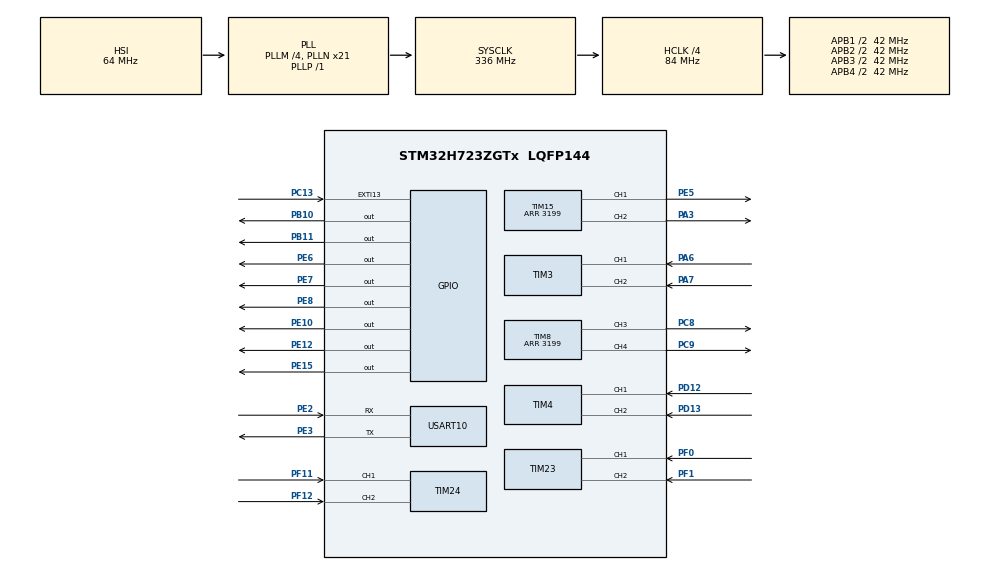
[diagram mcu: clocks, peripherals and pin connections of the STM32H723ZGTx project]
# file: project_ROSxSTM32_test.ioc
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Dma.Request0=USART10_RX
Dma.Request1=USART10_TX
Dma.USART10_RX.0.Direction=DMA_PERIPH_TO_MEMORY
Dma.USART10_RX.0.EventEnable=DISABLE
Dma.USART10_RX.0.FIFOMode=DMA_FIFOMODE_DISABLE
Dma.USART10_RX.0.Instance=DMA1_Stream0
Dma.USART10_RX.0.MemDataAlignment=DMA_MDATAALIGN_BYTE
Dma.USART10_RX.0.MemInc=DMA_MINC_ENABLE
Dma.USART10_RX.0.Mode=DMA_CIRCULAR
Dma.USART10_RX.0.PeriphDataAlignment=DMA_PDATAALIGN_BYTE
Dma.USART10_RX.0.PeriphInc=DMA_PINC_DISABLE
Dma.USART10_RX.0.Polarity=HAL_DMAMUX_REQ_GEN_RISING
Dma.USART10_RX.0.Priority=DMA_PRIORITY_HIGH
Dma.USART10_RX.0.RequestNumber=1
Dma.USART10_RX.0.SignalID=NONE
Dma.USART10_RX.0.SyncEnable=DISABLE
Dma.USART10_RX.0.SyncPolarity=HAL_DMAMUX_SYNC_NO_EVENT
Dma.USART10_RX.0.SyncRequestNumber=1
Dma.USART10_RX.0.SyncSignalID=NONE
Dma.USART10_TX.1.Direction=DMA_MEMORY_TO_PERIPH
Dma.USART10_TX.1.EventEnable=DISABLE
Dma.USART10_TX.1.FIFOMode=DMA_FIFOMODE_DISABLE
Dma.USART10_TX.1.Instance=DMA1_Stream1
Dma.USART10_TX.1.MemDataAlignment=DMA_MDATAALIGN_BYTE
Dma.USART10_TX.1.MemInc=DMA_MINC_ENABLE
Dma.USART10_TX.1.Mode=DMA_NORMAL
Dma.USART10_TX.1.PeriphDataAlignment=DMA_PDATAALIGN_BYTE
Dma.USART10_TX.1.PeriphInc=DMA_PINC_DISABLE
Dma.USART10_TX.1.Polarity=HAL_DMAMUX_REQ_GEN_RISING
Dma.USART10_TX.1.Priority=DMA_PRIORITY_HIGH
Dma.USART10_TX.1.RequestNumber=1
Dma.USART10_TX.1.SignalID=NONE
Dma.USART10_TX.1.SyncEnable=DISABLE
Dma.USART10_TX.1.SyncPolarity=HAL_DMAMUX_SYNC_NO_EVENT
Dma.USART10_TX.1.SyncRequestNumber=1
Dma.USART10_TX.1.SyncSignalID=NONE
Mcu.Family=STM32H7
Mcu.Name=STM32H723ZGTx
Mcu.Package=LQFP144
NVIC.DMA1_Stream0_IRQn=true\:0\:0\:false\:false\:true\:false\:true\:true
NVIC.DMA1_Stream1_IRQn=true\:0\:0\:false\:false\:true\:false\:true\:true
NVIC.EXTI15_10_IRQn=true\:0\:0\:false\:false\:true\:true\:true\:true
NVIC.PriorityGroup=NVIC_PRIORITYGROUP_4
NVIC.RCC_IRQn=true\:0\:0\:false\:false\:true\:true\:false\:true
NVIC.TIM2_IRQn=true\:0\:0\:false\:false\:true\:true\:true\:true
NVIC.TIM5_IRQn=true\:0\:0\:false\:false\:true\:true\:true\:true
NVIC.USART10_IRQn=true\:0\:0\:false\:false\:true\:true\:true\:true
PA3.Signal=S_TIM15_CH2
PA6.Signal=S_TIM3_CH1
PA7.Signal=S_TIM3_CH2
PB10.Signal=GPIO_Output
PB11.Signal=GPIO_Output
PC13.Signal=GPXTI13
PC8.Signal=S_TIM8_CH3
PC9.Signal=S_TIM8_CH4
PD12.Signal=S_TIM4_CH1
PD13.Signal=S_TIM4_CH2
PE10.Signal=GPIO_Output
PE12.Signal=GPIO_Output
PE15.Signal=GPIO_Output
PE2.Mode=Asynchronous
PE2.Signal=USART10_RX
PE3.Mode=Asynchronous
PE3.Signal=USART10_TX
PE5.Signal=S_TIM15_CH1
PE6.Signal=GPIO_Output
PE7.Signal=GPIO_Output
PE8.Signal=GPIO_Output
PF0.Mode=Encoder_Interface
PF0.Signal=TIM23_CH1
PF1.Signal=S_TIM23_CH2
PF11.Mode=Encoder_Interface
PF11.Signal=TIM24_CH1
PF12.Signal=S_TIM24_CH2
PH0-OSC_IN.Mode=HSE-External-Clock-Source
PH0-OSC_IN.Signal=RCC_OSC_IN
ProjectManager.HeapSize=0x200
ProjectManager.StackSize=0x400
ProjectManager.TargetToolchain=STM32CubeIDE
RCC.ADCFreq_Value=129000000
RCC.APB1Freq_Value=42000000
RCC.APB2Freq_Value=42000000
RCC.APB3Freq_Value=42000000
RCC.APB4Freq_Value=42000000
RCC.CortexFreq_Value=168000000
RCC.D1CPRE=RCC_SYSCLK_DIV2
RCC.D1PPRE=RCC_APB3_DIV2
RCC.D2PPRE1=RCC_APB1_DIV2
RCC.D2PPRE2=RCC_APB2_DIV2
RCC.D3PPRE=RCC_APB4_DIV2
RCC.DIVM1=4
RCC.DIVN1=21
RCC.DIVP1=1
RCC.HCLKFreq_Value=84000000
RCC.HPRE=RCC_HCLK_DIV2
RCC.HSE_VALUE=8000000
RCC.PLL2FRACN=0
RCC.PLL3FRACN=0
RCC.PLLFRACN=0
RCC.SYSCLKFreq_VALUE=336000000
RCC.SYSCLKSource=RCC_SYSCLKSOURCE_PLLCLK
RCC.USBFreq_Value=168000000
SH.S_TIM15_CH1.0=TIM15_CH1,PWM Generation1 CH1
SH.S_TIM15_CH2.0=TIM15_CH2,PWM Generation2 CH2
SH.S_TIM23_CH2.0=TIM23_CH2,Encoder_Interface
SH.S_TIM24_CH2.0=TIM24_CH2,Encoder_Interface
SH.S_TIM3_CH1.0=TIM3_CH1,Encoder_Interface
SH.S_TIM3_CH2.0=TIM3_CH2,Encoder_Interface
SH.S_TIM4_CH1.0=TIM4_CH1,Encoder_Interface
SH.S_TIM4_CH2.0=TIM4_CH2,Encoder_Interface
SH.S_TIM8_CH3.0=TIM8_CH3,PWM Generation3 CH3
SH.S_TIM8_CH4.0=TIM8_CH4,PWM Generation4 CH4
TIM15.Channel-PWM\ Generation1\ CH1=TIM_CHANNEL_1
TIM15.Channel-PWM\ Generation2\ CH2=TIM_CHANNEL_2
TIM15.Period=3199
TIM2.Period=19999
TIM2.Prescaler=63
TIM23.EncoderMode=TIM_ENCODERMODE_TI12
TIM24.EncoderMode=TIM_ENCODERMODE_TI12
TIM3.EncoderMode=TIM_ENCODERMODE_TI12
TIM4.EncoderMode=TIM_ENCODERMODE_TI12
TIM5.Period=999
TIM5.Prescaler=63
TIM8.Channel-PWM\ Generation3\ CH3=TIM_CHANNEL_3
TIM8.Channel-PWM\ Generation4\ CH4=TIM_CHANNEL_4
TIM8.Period=3199
USART10.VirtualMode-Asynchronous=VM_ASYNC
VP_TIM2_VS_ClockSourceINT.Mode=Internal
VP_TIM5_VS_ClockSourceINT.Mode=Internal
board=custom

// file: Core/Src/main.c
/* USER CODE BEGIN Header */
/**
  ******************************************************************************
  * @file           : main.c
  * @brief          : Main program body
  ******************************************************************************
  * @attention
  *
  * Copyright (c) 2023 STMicroelectronics.
  * All rights reserved.
  *
  * This software is licensed under terms that can be found in the LICENSE file
  * in the root directory of this software component.
  * If no LICENSE file comes with this software, it is provided AS-IS.
  *
  ******************************************************************************
  */
/* USER CODE END Header */
#include "main.h"

/* USER CODE BEGIN Includes */
#include "mainpp.h"
#include "PID.h"
#include "timing.h"
/* USER CODE END Includes */

/* USER CODE BEGIN PM */
void SV_Limit(double SV[], double max){
	double temp_SV;
	for (int i = 0; i < 4; i++) {
		if (SV[i] > max){
			temp_SV = max / SV[i];
			for (int j = 0; j < 4; j++) SV[j] *= temp_SV;
		}else if (SV[i] < (max * -1)){
			temp_SV = (max * -1) / SV[i];
			for (int j = 0; j < 4; j++) SV[j] *= temp_SV;
		}
	}
}
/* USER CODE END PM */

TIM_HandleTypeDef htim2;
TIM_HandleTypeDef htim3;
TIM_HandleTypeDef htim4;
TIM_HandleTypeDef htim5;
TIM_HandleTypeDef htim8;
TIM_HandleTypeDef htim15;
TIM_HandleTypeDef htim23;
TIM_HandleTypeDef htim24;

UART_HandleTypeDef huart10;
DMA_HandleTypeDef hdma_usart10_rx;
DMA_HandleTypeDef hdma_usart10_tx;

void SystemClock_Config(void);
static void MX_GPIO_Init(void);
static void MX_DMA_Init(void);
static void MX_USART10_UART_Init(void);
static void MX_TIM3_Init(void);
static void MX_TIM4_Init(void);
static void MX_TIM5_Init(void);
static void MX_TIM8_Init(void);
static void MX_TIM15_Init(void);
static void MX_TIM23_Init(void);
static void MX_TIM24_Init(void);
static void MX_TIM2_Init(void);

int main(void)
{

  /* MCU Configuration--------------------------------------------------------*/

  /* Reset of all peripherals, Initializes the Flash interface and the Systick. */
  HAL_Init();

  /* Configure the system clock */
  SystemClock_Config();

  /* Initialize all configured peripherals */
  MX_GPIO_Init();
  MX_DMA_Init();
  MX_USART10_UART_Init();
  MX_TIM3_Init();
  MX_TIM4_Init();
  MX_TIM5_Init();
  MX_TIM8_Init();
  MX_TIM15_Init();
  MX_TIM23_Init();
  MX_TIM24_Init();
  MX_TIM2_Init();
  /* USER CODE BEGIN 2 */
  	HAL_TIM_Base_Start_IT(&htim5);
  	HAL_TIM_Base_Start_IT(&htim2);
    HAL_TIM_PWM_Start(&htim8, TIM_CHANNEL_3);
    HAL_TIM_PWM_Start(&htim8, TIM_CHANNEL_4);
    HAL_TIM_PWM_Start(&htim15, TIM_CHANNEL_1);
    HAL_TIM_PWM_Start(&htim15, TIM_CHANNEL_2);
    HAL_TIM_Encoder_Start(&htim24, TIM_CHANNEL_1);
    HAL_TIM_Encoder_Start(&htim24, TIM_CHANNEL_2);
    HAL_TIM_Encoder_Start(&htim3, TIM_CHANNEL_1);
    HAL_TIM_Encoder_Start(&htim3, TIM_CHANNEL_2);
    HAL_TIM_Encoder_Start(&htim4, TIM_CHANNEL_1);
    HAL_TIM_Encoder_Start(&htim4, TIM_CHANNEL_2);
    HAL_TIM_Encoder_Start(&htim23, TIM_CHANNEL_1);
    HAL_TIM_Encoder_Start(&htim23, TIM_CHANNEL_2);

    setup();
  /* USER CODE END 2 */

  /* Infinite loop */
  while (1)
  {

    /* USER CODE BEGIN 3 */
		loop();
  }
  /* USER CODE END 3 */
}

void SystemClock_Config(void)
{
  RCC_OscInitTypeDef RCC_OscInitStruct = {0};
  RCC_ClkInitTypeDef RCC_ClkInitStruct = {0};

  /** Supply configuration update enable
  */
  HAL_PWREx_ConfigSupply(PWR_LDO_SUPPLY);

  /** Configure the main internal regulator output voltage
  */
  __HAL_PWR_VOLTAGESCALING_CONFIG(PWR_REGULATOR_VOLTAGE_SCALE3);

  while(!__HAL_PWR_GET_FLAG(PWR_FLAG_VOSRDY)) {}

  /** Initializes the RCC Oscillators according to the specified parameters
  * in the RCC_OscInitTypeDef structure.
  */
  RCC_OscInitStruct.OscillatorType = RCC_OSCILLATORTYPE_HSI;
  RCC_OscInitStruct.HSIState = RCC_HSI_DIV1;
  RCC_OscInitStruct.HSICalibrationValue = RCC_HSICALIBRATION_DEFAULT;
  RCC_OscInitStruct.PLL.PLLState = RCC_PLL_ON;
  RCC_OscInitStruct.PLL.PLLSource = RCC_PLLSOURCE_HSI;
  RCC_OscInitStruct.PLL.PLLM = 4;
  RCC_OscInitStruct.PLL.PLLN = 21;
  RCC_OscInitStruct.PLL.PLLP = 1;
  RCC_OscInitStruct.PLL.PLLQ = 2;
  RCC_OscInitStruct.PLL.PLLR = 2;
  RCC_OscInitStruct.PLL.PLLRGE = RCC_PLL1VCIRANGE_3;
  RCC_OscInitStruct.PLL.PLLVCOSEL = RCC_PLL1VCOWIDE;
  RCC_OscInitStruct.PLL.PLLFRACN = 0;
  if (HAL_RCC_OscConfig(&RCC_OscInitStruct) != HAL_OK)
  {
    Error_Handler();
  }

  /** Initializes the CPU, AHB and APB buses clocks
  */
  RCC_ClkInitStruct.ClockType = RCC_CLOCKTYPE_HCLK|RCC_CLOCKTYPE_SYSCLK
                              |RCC_CLOCKTYPE_PCLK1|RCC_CLOCKTYPE_PCLK2
                              |RCC_CLOCKTYPE_D3PCLK1|RCC_CLOCKTYPE_D1PCLK1;
  RCC_ClkInitStruct.SYSCLKSource = RCC_SYSCLKSOURCE_PLLCLK;
  RCC_ClkInitStruct.SYSCLKDivider = RCC_SYSCLK_DIV2;
  RCC_ClkInitStruct.AHBCLKDivider = RCC_HCLK_DIV2;
  RCC_ClkInitStruct.APB3CLKDivider = RCC_APB3_DIV2;
  RCC_ClkInitStruct.APB1CLKDivider = RCC_APB1_DIV2;
  RCC_ClkInitStruct.APB2CLKDivider = RCC_APB2_DIV2;
  RCC_ClkInitStruct.APB4CLKDivider = RCC_APB4_DIV2;

  if (HAL_RCC_ClockConfig(&RCC_ClkInitStruct, FLASH_LATENCY_2) != HAL_OK)
  {
    Error_Handler();
  }
}

static void MX_TIM2_Init(void)
{

  TIM_ClockConfigTypeDef sClockSourceConfig = {0};
  TIM_MasterConfigTypeDef sMasterConfig = {0};

  htim2.Instance = TIM2;
  htim2.Init.Prescaler = 63;
  htim2.Init.CounterMode = TIM_COUNTERMODE_UP;
  htim2.Init.Period = 19999;
  htim2.Init.ClockDivision = TIM_CLOCKDIVISION_DIV1;
  htim2.Init.AutoReloadPreload = TIM_AUTORELOAD_PRELOAD_DISABLE;
  if (HAL_TIM_Base_Init(&htim2) != HAL_OK)
  {
    Error_Handler();
  }
  sClockSourceConfig.ClockSource = TIM_CLOCKSOURCE_INTERNAL;
  if (HAL_TIM_ConfigClockSource(&htim2, &sClockSourceConfig) != HAL_OK)
  {
    Error_Handler();
  }
  sMasterConfig.MasterOutputTrigger = TIM_TRGO_RESET;
  sMasterConfig.MasterSlaveMode = TIM_MASTERSLAVEMODE_DISABLE;
  if (HAL_TIMEx_MasterConfigSynchronization(&htim2, &sMasterConfig) != HAL_OK)
  {
    Error_Handler();
  }

}

static void MX_TIM3_Init(void)
{

  TIM_Encoder_InitTypeDef sConfig = {0};
  TIM_MasterConfigTypeDef sMasterConfig = {0};

  htim3.Instance = TIM3;
  htim3.Init.Prescaler = 0;
  htim3.Init.CounterMode = TIM_COUNTERMODE_UP;
  htim3.Init.Period = 65535;
  htim3.Init.ClockDivision = TIM_CLOCKDIVISION_DIV1;
  htim3.Init.AutoReloadPreload = TIM_AUTORELOAD_PRELOAD_DISABLE;
  sConfig.EncoderMode = TIM_ENCODERMODE_TI12;
  sConfig.IC1Polarity = TIM_ICPOLARITY_RISING;
  sConfig.IC1Selection = TIM_ICSELECTION_DIRECTTI;
  sConfig.IC1Prescaler = TIM_ICPSC_DIV1;
  sConfig.IC1Filter = 0;
  sConfig.IC2Polarity = TIM_ICPOLARITY_RISING;
  sConfig.IC2Selection = TIM_ICSELECTION_DIRECTTI;
  sConfig.IC2Prescaler = TIM_ICPSC_DIV1;
  sConfig.IC2Filter = 0;
  if (HAL_TIM_Encoder_Init(&htim3, &sConfig) != HAL_OK)
  {
    Error_Handler();
  }
  sMasterConfig.MasterOutputTrigger = TIM_TRGO_RESET;
  sMasterConfig.MasterSlaveMode = TIM_MASTERSLAVEMODE_DISABLE;
  if (HAL_TIMEx_MasterConfigSynchronization(&htim3, &sMasterConfig) != HAL_OK)
  {
    Error_Handler();
  }

}

static void MX_TIM4_Init(void)
{

  TIM_Encoder_InitTypeDef sConfig = {0};
  TIM_MasterConfigTypeDef sMasterConfig = {0};

  htim4.Instance = TIM4;
  htim4.Init.Prescaler = 0;
  htim4.Init.CounterMode = TIM_COUNTERMODE_UP;
  htim4.Init.Period = 65535;
  htim4.Init.ClockDivision = TIM_CLOCKDIVISION_DIV1;
  htim4.Init.AutoReloadPreload = TIM_AUTORELOAD_PRELOAD_DISABLE;
  sConfig.EncoderMode = TIM_ENCODERMODE_TI12;
  sConfig.IC1Polarity = TIM_ICPOLARITY_RISING;
  sConfig.IC1Selection = TIM_ICSELECTION_DIRECTTI;
  sConfig.IC1Prescaler = TIM_ICPSC_DIV1;
  sConfig.IC1Filter = 0;
  sConfig.IC2Polarity = TIM_ICPOLARITY_RISING;
  sConfig.IC2Selection = TIM_ICSELECTION_DIRECTTI;
  sConfig.IC2Prescaler = TIM_ICPSC_DIV1;
  sConfig.IC2Filter = 0;
  if (HAL_TIM_Encoder_Init(&htim4, &sConfig) != HAL_OK)
  {
    Error_Handler();
  }
  sMasterConfig.MasterOutputTrigger = TIM_TRGO_RESET;
  sMasterConfig.MasterSlaveMode = TIM_MASTERSLAVEMODE_DISABLE;
  if (HAL_TIMEx_MasterConfigSynchronization(&htim4, &sMasterConfig) != HAL_OK)
  {
    Error_Handler();
  }

}

static void MX_TIM5_Init(void)
{

  TIM_ClockConfigTypeDef sClockSourceConfig = {0};
  TIM_MasterConfigTypeDef sMasterConfig = {0};

  htim5.Instance = TIM5;
  htim5.Init.Prescaler = 63;
  htim5.Init.CounterMode = TIM_COUNTERMODE_UP;
  htim5.Init.Period = 999;
  htim5.Init.ClockDivision = TIM_CLOCKDIVISION_DIV1;
  htim5.Init.AutoReloadPreload = TIM_AUTORELOAD_PRELOAD_DISABLE;
  if (HAL_TIM_Base_Init(&htim5) != HAL_OK)
  {
    Error_Handler();
  }
  sClockSourceConfig.ClockSource = TIM_CLOCKSOURCE_INTERNAL;
  if (HAL_TIM_ConfigClockSource(&htim5, &sClockSourceConfig) != HAL_OK)
  {
    Error_Handler();
  }
  sMasterConfig.MasterOutputTrigger = TIM_TRGO_RESET;
  sMasterConfig.MasterSlaveMode = TIM_MASTERSLAVEMODE_DISABLE;
  if (HAL_TIMEx_MasterConfigSynchronization(&htim5, &sMasterConfig) != HAL_OK)
  {
    Error_Handler();
  }

}

static void MX_TIM8_Init(void)
{

  TIM_MasterConfigTypeDef sMasterConfig = {0};
  TIM_OC_InitTypeDef sConfigOC = {0};
  TIM_BreakDeadTimeConfigTypeDef sBreakDeadTimeConfig = {0};

  htim8.Instance = TIM8;
  htim8.Init.Prescaler = 0;
  htim8.Init.CounterMode = TIM_COUNTERMODE_UP;
  htim8.Init.Period = 3199;
  htim8.Init.ClockDivision = TIM_CLOCKDIVISION_DIV1;
  htim8.Init.RepetitionCounter = 0;
  htim8.Init.AutoReloadPreload = TIM_AUTORELOAD_PRELOAD_DISABLE;
  if (HAL_TIM_PWM_Init(&htim8) != HAL_OK)
  {
    Error_Handler();
  }
  sMasterConfig.MasterOutputTrigger = TIM_TRGO_RESET;
  sMasterConfig.MasterOutputTrigger2 = TIM_TRGO2_RESET;
  sMasterConfig.MasterSlaveMode = TIM_MASTERSLAVEMODE_DISABLE;
  if (HAL_TIMEx_MasterConfigSynchronization(&htim8, &sMasterConfig) != HAL_OK)
  {
    Error_Handler();
  }
  sConfigOC.OCMode = TIM_OCMODE_PWM1;
  sConfigOC.Pulse = 0;
  sConfigOC.OCPolarity = TIM_OCPOLARITY_HIGH;
  sConfigOC.OCNPolarity = TIM_OCNPOLARITY_HIGH;
  sConfigOC.OCFastMode = TIM_OCFAST_DISABLE;
  sConfigOC.OCIdleState = TIM_OCIDLESTATE_RESET;
  sConfigOC.OCNIdleState = TIM_OCNIDLESTATE_RESET;
  if (HAL_TIM_PWM_ConfigChannel(&htim8, &sConfigOC, TIM_CHANNEL_3) != HAL_OK)
  {
    Error_Handler();
  }
  if (HAL_TIM_PWM_ConfigChannel(&htim8, &sConfigOC, TIM_CHANNEL_4) != HAL_OK)
  {
    Error_Handler();
  }
  sBreakDeadTimeConfig.OffStateRunMode = TIM_OSSR_DISABLE;
  sBreakDeadTimeConfig.OffStateIDLEMode = TIM_OSSI_DISABLE;
  sBreakDeadTimeConfig.LockLevel = TIM_LOCKLEVEL_OFF;
  sBreakDeadTimeConfig.DeadTime = 0;
  sBreakDeadTimeConfig.BreakState = TIM_BREAK_DISABLE;
  sBreakDeadTimeConfig.BreakPolarity = TIM_BREAKPOLARITY_HIGH;
  sBreakDeadTimeConfig.BreakFilter = 0;
  sBreakDeadTimeConfig.Break2State = TIM_BREAK2_DISABLE;
  sBreakDeadTimeConfig.Break2Polarity = TIM_BREAK2POLARITY_HIGH;
  sBreakDeadTimeConfig.Break2Filter = 0;
  sBreakDeadTimeConfig.AutomaticOutput = TIM_AUTOMATICOUTPUT_DISABLE;
  if (HAL_TIMEx_ConfigBreakDeadTime(&htim8, &sBreakDeadTimeConfig) != HAL_OK)
  {
    Error_Handler();
  }
  HAL_TIM_MspPostInit(&htim8);

}

static void MX_TIM15_Init(void)
{

  TIM_MasterConfigTypeDef sMasterConfig = {0};
  TIM_OC_InitTypeDef sConfigOC = {0};
  TIM_BreakDeadTimeConfigTypeDef sBreakDeadTimeConfig = {0};

  htim15.Instance = TIM15;
  htim15.Init.Prescaler = 0;
  htim15.Init.CounterMode = TIM_COUNTERMODE_UP;
  htim15.Init.Period = 3199;
  htim15.Init.ClockDivision = TIM_CLOCKDIVISION_DIV1;
  htim15.Init.RepetitionCounter = 0;
  htim15.Init.AutoReloadPreload = TIM_AUTORELOAD_PRELOAD_DISABLE;
  if (HAL_TIM_PWM_Init(&htim15) != HAL_OK)
  {
    Error_Handler();
  }
  sMasterConfig.MasterOutputTrigger = TIM_TRGO_RESET;
  sMasterConfig.MasterSlaveMode = TIM_MASTERSLAVEMODE_DISABLE;
  if (HAL_TIMEx_MasterConfigSynchronization(&htim15, &sMasterConfig) != HAL_OK)
  {
    Error_Handler();
  }
  sConfigOC.OCMode = TIM_OCMODE_PWM1;
  sConfigOC.Pulse = 0;
  sConfigOC.OCPolarity = TIM_OCPOLARITY_HIGH;
  sConfigOC.OCNPolarity = TIM_OCNPOLARITY_HIGH;
  sConfigOC.OCFastMode = TIM_OCFAST_DISABLE;
  sConfigOC.OCIdleState = TIM_OCIDLESTATE_RESET;
  sConfigOC.OCNIdleState = TIM_OCNIDLESTATE_RESET;
  if (HAL_TIM_PWM_ConfigChannel(&htim15, &sConfigOC, TIM_CHANNEL_1) != HAL_OK)
  {
    Error_Handler();
  }
  if (HAL_TIM_PWM_ConfigChannel(&htim15, &sConfigOC, TIM_CHANNEL_2) != HAL_OK)
  {
    Error_Handler();
  }
  sBreakDeadTimeConfig.OffStateRunMode = TIM_OSSR_DISABLE;
  sBreakDeadTimeConfig.OffStateIDLEMode = TIM_OSSI_DISABLE;
  sBreakDeadTimeConfig.LockLevel = TIM_LOCKLEVEL_OFF;
  sBreakDeadTimeConfig.DeadTime = 0;
  sBreakDeadTimeConfig.BreakState = TIM_BREAK_DISABLE;
  sBreakDeadTimeConfig.BreakPolarity = TIM_BREAKPOLARITY_HIGH;
  sBreakDeadTimeConfig.BreakFilter = 0;
  sBreakDeadTimeConfig.AutomaticOutput = TIM_AUTOMATICOUTPUT_DISABLE;
  if (HAL_TIMEx_ConfigBreakDeadTime(&htim15, &sBreakDeadTimeConfig) != HAL_OK)
  {
    Error_Handler();
  }
  HAL_TIM_MspPostInit(&htim15);

}

static void MX_TIM23_Init(void)
{

  TIM_Encoder_InitTypeDef sConfig = {0};
  TIM_MasterConfigTypeDef sMasterConfig = {0};

  htim23.Instance = TIM23;
  htim23.Init.Prescaler = 0;
  htim23.Init.CounterMode = TIM_COUNTERMODE_UP;
  htim23.Init.Period = 4294967295;
  htim23.Init.ClockDivision = TIM_CLOCKDIVISION_DIV1;
  htim23.Init.AutoReloadPreload = TIM_AUTORELOAD_PRELOAD_DISABLE;
  sConfig.EncoderMode = TIM_ENCODERMODE_TI12;
  sConfig.IC1Polarity = TIM_ICPOLARITY_RISING;
  sConfig.IC1Selection = TIM_ICSELECTION_DIRECTTI;
  sConfig.IC1Prescaler = TIM_ICPSC_DIV1;
  sConfig.IC1Filter = 0;
  sConfig.IC2Polarity = TIM_ICPOLARITY_RISING;
  sConfig.IC2Selection = TIM_ICSELECTION_DIRECTTI;
  sConfig.IC2Prescaler = TIM_ICPSC_DIV1;
  sConfig.IC2Filter = 0;
  if (HAL_TIM_Encoder_Init(&htim23, &sConfig) != HAL_OK)
  {
    Error_Handler();
  }
  sMasterConfig.MasterOutputTrigger = TIM_TRGO_RESET;
  sMasterConfig.MasterSlaveMode = TIM_MASTERSLAVEMODE_DISABLE;
  if (HAL_TIMEx_MasterConfigSynchronization(&htim23, &sMasterConfig) != HAL_OK)
  {
    Error_Handler();
  }

}

static void MX_TIM24_Init(void)
{

  TIM_Encoder_InitTypeDef sConfig = {0};
  TIM_MasterConfigTypeDef sMasterConfig = {0};

  htim24.Instance = TIM24;
  htim24.Init.Prescaler = 0;
  htim24.Init.CounterMode = TIM_COUNTERMODE_UP;
  htim24.Init.Period = 4294967295;
  htim24.Init.ClockDivision = TIM_CLOCKDIVISION_DIV1;
  htim24.Init.AutoReloadPreload = TIM_AUTORELOAD_PRELOAD_DISABLE;
  sConfig.EncoderMode = TIM_ENCODERMODE_TI12;
  sConfig.IC1Polarity = TIM_ICPOLARITY_RISING;
  sConfig.IC1Selection = TIM_ICSELECTION_DIRECTTI;
  sConfig.IC1Prescaler = TIM_ICPSC_DIV1;
  sConfig.IC1Filter = 0;
  sConfig.IC2Polarity = TIM_ICPOLARITY_RISING;
  sConfig.IC2Selection = TIM_ICSELECTION_DIRECTTI;
  sConfig.IC2Prescaler = TIM_ICPSC_DIV1;
  sConfig.IC2Filter = 0;
  if (HAL_TIM_Encoder_Init(&htim24, &sConfig) != HAL_OK)
  {
    Error_Handler();
  }
  sMasterConfig.MasterOutputTrigger = TIM_TRGO_RESET;
  sMasterConfig.MasterSlaveMode = TIM_MASTERSLAVEMODE_DISABLE;
  if (HAL_TIMEx_MasterConfigSynchronization(&htim24, &sMasterConfig) != HAL_OK)
  {
    Error_Handler();
  }

}

static void MX_USART10_UART_Init(void)
{

  huart10.Instance = USART10;
  huart10.Init.BaudRate = 57600;
  huart10.Init.WordLength = UART_WORDLENGTH_8B;
  huart10.Init.StopBits = UART_STOPBITS_1;
  huart10.Init.Parity = UART_PARITY_NONE;
  huart10.Init.Mode = UART_MODE_TX_RX;
  huart10.Init.HwFlowCtl = UART_HWCONTROL_NONE;
  huart10.Init.OverSampling = UART_OVERSAMPLING_16;
  huart10.Init.OneBitSampling = UART_ONE_BIT_SAMPLE_DISABLE;
  huart10.Init.ClockPrescaler = UART_PRESCALER_DIV1;
  huart10.AdvancedInit.AdvFeatureInit = UART_ADVFEATURE_NO_INIT;
  if (HAL_UART_Init(&huart10) != HAL_OK)
  {
    Error_Handler();
  }
  if (HAL_UARTEx_SetTxFifoThreshold(&huart10, UART_TXFIFO_THRESHOLD_1_8) != HAL_OK)
  {
    Error_Handler();
  }
  if (HAL_UARTEx_SetRxFifoThreshold(&huart10, UART_RXFIFO_THRESHOLD_1_8) != HAL_OK)
  {
    Error_Handler();
  }
  if (HAL_UARTEx_DisableFifoMode(&huart10) != HAL_OK)
  {
    Error_Handler();
  }

}

static void MX_DMA_Init(void)
{

  /* DMA controller clock enable */
  __HAL_RCC_DMA1_CLK_ENABLE();

  /* DMA interrupt init */
  /* DMA1_Stream0_IRQn interrupt configuration */
  HAL_NVIC_SetPriority(DMA1_Stream0_IRQn, 0, 0);
  HAL_NVIC_EnableIRQ(DMA1_Stream0_IRQn);
  /* DMA1_Stream1_IRQn interrupt configuration */
  HAL_NVIC_SetPriority(DMA1_Stream1_IRQn, 0, 0);
  HAL_NVIC_EnableIRQ(DMA1_Stream1_IRQn);

}

static void MX_GPIO_Init(void)
{
  GPIO_InitTypeDef GPIO_InitStruct = {0};

  /* GPIO Ports Clock Enable */
  __HAL_RCC_GPIOE_CLK_ENABLE();
  __HAL_RCC_GPIOC_CLK_ENABLE();
  __HAL_RCC_GPIOF_CLK_ENABLE();
  __HAL_RCC_GPIOH_CLK_ENABLE();
  __HAL_RCC_GPIOA_CLK_ENABLE();
  __HAL_RCC_GPIOB_CLK_ENABLE();
  __HAL_RCC_GPIOD_CLK_ENABLE();

  /*Configure GPIO pin Output Level */
  HAL_GPIO_WritePin(GPIOE, GPIO_PIN_6|GPIO_PIN_7|GPIO_PIN_8|GPIO_PIN_10
                          |GPIO_PIN_12|GPIO_PIN_15, GPIO_PIN_RESET);

  /*Configure GPIO pin Output Level */
  HAL_GPIO_WritePin(GPIOB, GPIO_PIN_10|GPIO_PIN_11, GPIO_PIN_RESET);

  /*Configure GPIO pins : PE6 PE7 PE8 PE10
                           PE12 PE15 */
  GPIO_InitStruct.Pin = GPIO_PIN_6|GPIO_PIN_7|GPIO_PIN_8|GPIO_PIN_10
                          |GPIO_PIN_12|GPIO_PIN_15;
  GPIO_InitStruct.Mode = GPIO_MODE_OUTPUT_PP;
  GPIO_InitStruct.Pull = GPIO_NOPULL;
  GPIO_InitStruct.Speed = GPIO_SPEED_FREQ_LOW;
  HAL_GPIO_Init(GPIOE, &GPIO_InitStruct);

  /*Configure GPIO pin : PC13 */
  GPIO_InitStruct.Pin = GPIO_PIN_13;
  GPIO_InitStruct.Mode = GPIO_MODE_IT_RISING;
  GPIO_InitStruct.Pull = GPIO_NOPULL;
  HAL_GPIO_Init(GPIOC, &GPIO_InitStruct);

  /*Configure GPIO pins : PB10 PB11 */
  GPIO_InitStruct.Pin = GPIO_PIN_10|GPIO_PIN_11;
  GPIO_InitStruct.Mode = GPIO_MODE_OUTPUT_PP;
  GPIO_InitStruct.Pull = GPIO_NOPULL;
  GPIO_InitStruct.Speed = GPIO_SPEED_FREQ_LOW;
  HAL_GPIO_Init(GPIOB, &GPIO_InitStruct);

  /* EXTI interrupt init*/
  HAL_NVIC_SetPriority(EXTI15_10_IRQn, 0, 0);
  HAL_NVIC_EnableIRQ(EXTI15_10_IRQn);

}

/* USER CODE BEGIN 4 */

//void HAL_TIM_PeriodElapsedCallback(TIM_HandleTypeDef *htim) {
//	if (htim->Instance == TIM2) {
//		interPub();
//	}
//	if (htim->Instance == TIM5) {
//		Kpid[0].goalVel = Vy + Vx + (W * 0.152767);
//		Kpid[1].goalVel = Vy - Vx - (W * 0.152844);
//		Kpid[2].goalVel = Vy + Vx - (W * 0.152998);
//		Kpid[3].goalVel = Vy - Vx + (W * 0.154852);
//		Kpid[0].enc = __HAL_TIM_GetCounter(&htim23);
//		Kpid[1].enc = __HAL_TIM_GetCounter(&htim4) * -1;
//		Kpid[2].enc = __HAL_TIM_GetCounter(&htim24);
//		Kpid[3].enc = __HAL_TIM_GetCounter(&htim3);
//		__HAL_TIM_SetCounter(&htim24, 0);
//		__HAL_TIM_SetCounter(&htim23, 0);
//		__HAL_TIM_SetCounter(&htim3, 0);
//		__HAL_TIM_SetCounter(&htim4, 0);
//
//		for( int i = 0; i < 4; i ++){
//			pidCtrl(i);
//		}
//
//		__HAL_TIM_SET_COMPARE(&htim8, TIM_CHANNEL_3, Kpid[0].pulse);
//		__HAL_TIM_SET_COMPARE(&htim8, TIM_CHANNEL_4, Kpid[1].pulse);
//		__HAL_TIM_SET_COMPARE(&htim15, TIM_CHANNEL_2, Kpid[2].pulse);
//		__HAL_TIM_SET_COMPARE(&htim15, TIM_CHANNEL_1, Kpid[3].pulse);
//		HAL_GPIO_WritePin(GPIOB, GPIO_PIN_10, GPIO_PIN_RESET);
//		HAL_GPIO_WritePin(GPIOB, GPIO_PIN_11, GPIO_PIN_RESET);
//		HAL_GPIO_WritePin(GPIOE, GPIO_PIN_15, GPIO_PIN_RESET);
//		HAL_GPIO_WritePin(GPIOE, GPIO_PIN_6, GPIO_PIN_RESET);
//		HAL_GPIO_WritePin(GPIOE, GPIO_PIN_10, GPIO_PIN_RESET);
//		HAL_GPIO_WritePin(GPIOE, GPIO_PIN_12, GPIO_PIN_RESET);
//		HAL_GPIO_WritePin(GPIOE, GPIO_PIN_8, GPIO_PIN_RESET);
//		HAL_GPIO_WritePin(GPIOE, GPIO_PIN_7, GPIO_PIN_RESET);
//		if (Kpid[0].u > 0)HAL_GPIO_WritePin(GPIOB, GPIO_PIN_10, GPIO_PIN_SET);
//		else if (Kpid[0].u < 0)HAL_GPIO_WritePin(GPIOB, GPIO_PIN_11, GPIO_PIN_SET);
//		if (Kpid[1].u > 0)HAL_GPIO_WritePin(GPIOE, GPIO_PIN_15, GPIO_PIN_SET);
//		else if (Kpid[1].u < 0)HAL_GPIO_WritePin(GPIOE, GPIO_PIN_6, GPIO_PIN_SET);
//		if (Kpid[2].u > 0)HAL_GPIO_WritePin(GPIOE, GPIO_PIN_10, GPIO_PIN_SET);
//		else if (Kpid[2].u < 0)HAL_GPIO_WritePin(GPIOE, GPIO_PIN_12, GPIO_PIN_SET);
//		if (Kpid[3].u > 0)HAL_GPIO_WritePin(GPIOE, GPIO_PIN_8, GPIO_PIN_SET);
//		else if (Kpid[3].u < 0)HAL_GPIO_WritePin(GPIOE, GPIO_PIN_7, GPIO_PIN_SET);
//
//		rVy = 0.25 * ( Kpid[0].insVel + Kpid[1].insVel
//				+ Kpid[2].insVel + Kpid[3].insVel );
//		rVx = 0.25 * ( Kpid[0].insVel - Kpid[1].insVel
//				+ Kpid[2].insVel - Kpid[3].insVel );
//		rW = 0.25 * ( Kpid[0].insVel - Kpid[1].insVel
//				- Kpid[2].insVel + Kpid[3].insVel );
//	}
//}

/* USER CODE END 4 */

void Error_Handler(void)
{
  __disable_irq();
  while (1)
  {
  }
}
